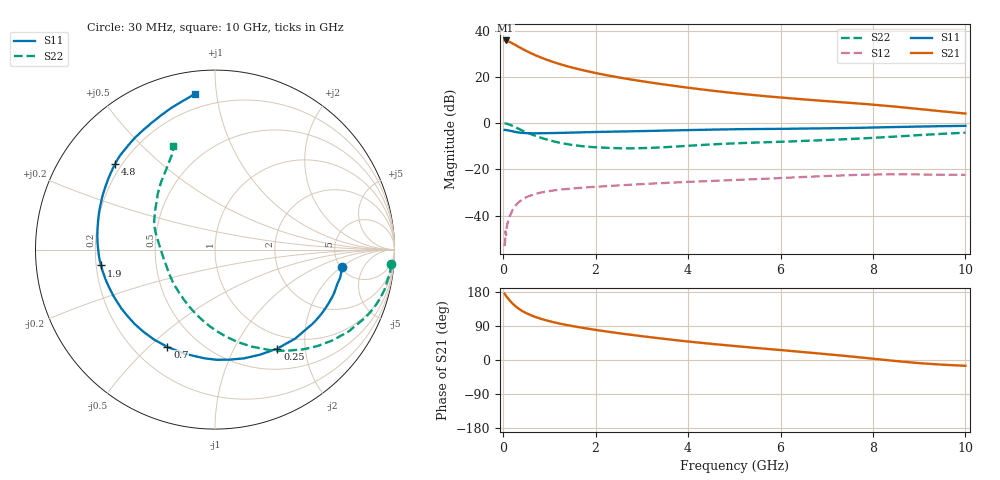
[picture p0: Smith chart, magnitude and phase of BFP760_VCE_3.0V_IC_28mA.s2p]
! Infineon Technologies  Discrete & RF Semiconductors
! BFP760
! VCE =  3.0 V,  IC =  28 mA
! Common Emitter S-Parameters:  Nov 2012
# GHz  S  MA  R  50
!  f  S11  S21  S12  S22
! GHz  MAG  ANG  MAG  ANG  MAG  ANG  MAG  ANG
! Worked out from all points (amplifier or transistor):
!   99 points, 30 MHz to 10 GHz, reference 50 ohm
!   highest |S21| = 35.7 dB at 50 MHz (marker M1)
!   |S21| within 3 dB of that: start of sweep to 355.2 MHz
!   unconditionally stable (mu >= 1): 4.291 GHz to end of sweep
!   at 350 MHz: K = 0.26, MSG = 33.3 dB, |S12| = -33.9 dB
!   at 3.5 GHz: K = 0.92, MSG = 21.3 dB, |S12| = -25.8 dB
!   at 10 GHz: K = 1.07, MAG = 11.6 dB, |S12| = -22.3 dB
!   S11 on the Smith chart (normalised r, x): 30 MHz: 5.20, -2.04; 250 MHz: 0.79, -1.51; 700 MHz: 0.34, -0.57; 1.9 GHz: 0.22, -0.07; 4.8 GHz: 0.17, +0.36; 10 GHz: 0.12, +0.87
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0.03  0.7152 -7.7  61.13 174.8  0.0022 89.5  0.9837 -4.7
0.05  0.7147 -12.7  61.21 171.0  0.0046 87.3  0.9835 -8.1
0.1  0.7001 -25.3  58.99 163.0  0.007 75.0  0.9581 -16.7
0.15  0.683 -37.2  56.16 155.7  0.0101 74.5  0.918 -24.5
0.2  0.6674 -48.0  52.93 149.3  0.0133 67.6  0.8737 -31.4
0.25  0.6518 -57.8  49.77 143.6  0.016 64.7  0.8273 -37.7
0.35  0.627 -75.1  43.61 134.2  0.0202 58.2  0.742 -48.5
0.45  0.6137 -89.3  38.52 126.8  0.0237 53.0  0.6684 -57.6
0.6  0.6047 -106.8  32.46 118.1  0.0275 47.3  0.5778 -69.3
0.7  0.6035 -116.1  29.27 113.4  0.0298 44.5  0.5303 -76.2
0.9  0.6071 -131.2  24.31 105.7  0.0329 39.8  0.4553 -88.6
1.1  0.6122 -142.8  20.67 99.4  0.0353 36.8  0.4021 -99.5
1.3  0.6186 -152.1  17.93 94.1  0.0372 34.8  0.3644 -109.2
1.7  0.6334 -166.3  14.12 85.3  0.0402 32.4  0.3184 -125.9
1.9  0.6411 -172.1  12.74 81.4  0.0416 31.5  0.3057 -133.7
2.6  0.6621 171.8  9.357 69.1  0.0458 29.8  0.2863 -156.6
3.4  0.6874 157.4  7.036 57.0  0.0505 28.4  0.2993 -178.0
4.8  0.7328 139.5  4.685 39.2  0.058 26.2  0.3586 159.6
5.1  0.7404 136.9  4.356 35.9  0.0596 25.8  0.3697 156.3
6.7  0.7682 124.8  3.148 18.7  0.0702 22.2  0.4206 140.8
8.5  0.8259 107.2  2.268 -2.8  0.0785 12.1  0.5138 122.7
10  0.8755 97.4  1.616 -15.3  0.0766 7.6  0.6222 111.9
